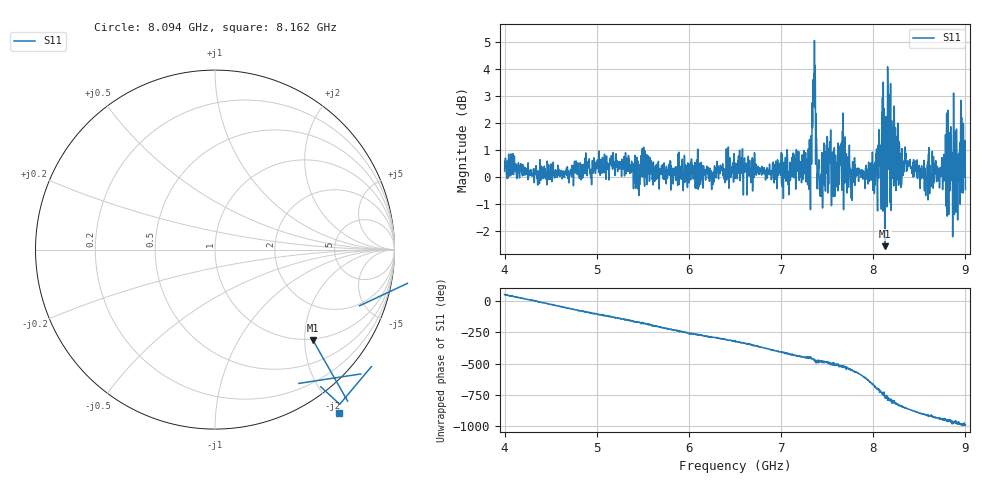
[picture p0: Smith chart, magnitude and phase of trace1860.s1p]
! Created with skrf 1.8.0 (http://scikit-rf.org).
# Hz S RI R 50.0
!freq ReS11 ImS11
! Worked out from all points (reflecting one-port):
!   1601 points, 4 GHz to 9 GHz, reference 50 ohm
!   lowest |S11| = -2.6 dB at 8.125 GHz (marker M1), VSWR 6.81, Z = 48.4 - j109 ohm
!   phase of S11 starts at 53 deg and turns -1044 deg over the sweep
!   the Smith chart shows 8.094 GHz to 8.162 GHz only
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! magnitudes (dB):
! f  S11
! 4 GHz  0.2
! 4.625 GHz  -0.1
! 5.25 GHz  0.3
! 5.875 GHz  0.0
! 6.5 GHz  -0.1
! 7.125 GHz  0.3
! 7.294 GHz  1.0
! 7.319 GHz  -1.2
! 7.347 GHz  3.6
! 7.359 GHz  2.9
! 7.4 GHz  0.1
! 7.428 GHz  -0.1
! 7.512 GHz  0.9
! 7.591 GHz  0.8
! 7.688 GHz  1.4
! 7.75 GHz  0.2
! 8.022 GHz  -0.3
! 8.097 GHz  1.6
! 8.125 GHz  -2.6
! 8.162 GHz  1.2
! 8.209 GHz  1.8
! 8.375 GHz  0.6
! 8.569 GHz  -0.7
! 8.766 GHz  0.8
! 8.831 GHz  -0.5
! 8.919 GHz  -0.2
! 8.972 GHz  0.5
! 9 GHz  -0.5
